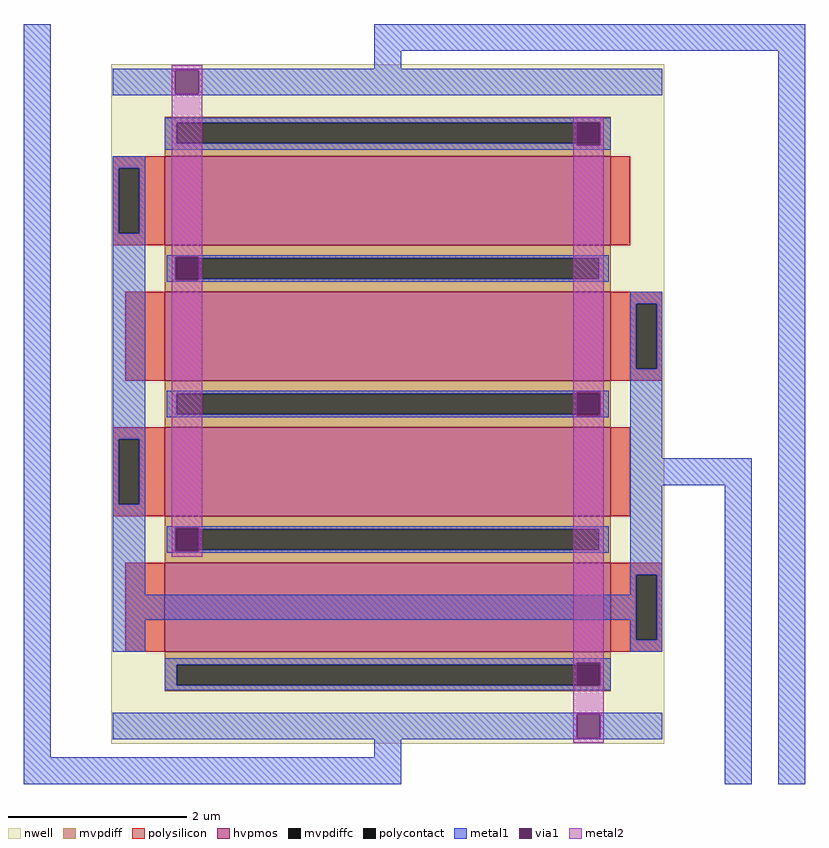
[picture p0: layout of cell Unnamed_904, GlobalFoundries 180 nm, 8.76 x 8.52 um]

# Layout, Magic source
magic
tech gf180mcuD
magscale 1 10
<< nwell >>
rect -1120 -192 120 1332
<< hvpmos >>
rect -1000 926 0 1126
rect -1000 622 0 822
rect -1000 318 0 518
rect -1000 14 0 214
<< mvpdiff >>
rect -1000 1201 0 1214
rect -1000 1155 -973 1201
rect -27 1155 0 1201
rect -1000 1126 0 1155
rect -1000 897 0 926
rect -1000 851 -973 897
rect -27 851 0 897
rect -1000 822 0 851
rect -1000 593 0 622
rect -1000 547 -973 593
rect -27 547 0 593
rect -1000 518 0 547
rect -1000 289 0 318
rect -1000 243 -973 289
rect -27 243 0 289
rect -1000 214 0 243
rect -1000 -15 0 14
rect -1000 -61 -973 -15
rect -27 -61 0 -15
rect -1000 -74 0 -61
<< mvpdiffc >>
rect -973 1155 -27 1201
rect -973 851 -27 897
rect -973 547 -27 593
rect -973 243 -27 289
rect -973 -61 -27 -15
<< polysilicon >>
rect -1116 1099 -1000 1126
rect -1116 953 -1103 1099
rect -1057 953 -1000 1099
rect -1116 926 -1000 953
rect 0 926 44 1126
rect -1088 622 -1000 822
rect 0 795 116 822
rect 0 649 57 795
rect 103 649 116 795
rect 0 622 116 649
rect -1116 491 -1000 518
rect -1116 345 -1103 491
rect -1057 345 -1000 491
rect -1116 318 -1000 345
rect 0 318 44 518
rect -1088 14 -1000 214
rect 0 187 116 214
rect 0 41 57 187
rect 103 41 116 187
rect 0 14 116 41
<< polycontact >>
rect -1103 953 -1057 1099
rect 57 649 103 795
rect -1103 345 -1057 491
rect 57 41 103 187
<< metal1 >>
rect -1316 -222 -1256 1422
rect -530 1362 436 1422
rect -530 1322 -470 1362
rect -1116 1318 116 1322
rect -1116 1266 -976 1318
rect -924 1266 116 1318
rect -1116 1262 116 1266
rect -1000 1202 0 1212
rect -1000 1201 -76 1202
rect -1000 1155 -973 1201
rect -1000 1150 -76 1155
rect -24 1150 0 1202
rect -1000 1140 0 1150
rect -1116 1099 -1044 1126
rect -1116 953 -1103 1099
rect -1057 953 -1044 1099
rect -1116 491 -1044 953
rect -996 900 -4 904
rect -996 848 -976 900
rect -924 897 -4 900
rect -27 851 -4 897
rect -924 848 -4 851
rect -996 844 -4 848
rect 44 795 116 822
rect 44 649 57 795
rect 103 649 116 795
rect -996 596 -4 600
rect -996 593 -76 596
rect -996 547 -973 593
rect -996 544 -76 547
rect -24 544 -4 596
rect -996 540 -4 544
rect -1116 345 -1103 491
rect -1057 345 -1044 491
rect -1116 142 -1044 345
rect 44 448 116 649
rect 44 388 316 448
rect -996 292 -4 296
rect -996 240 -976 292
rect -924 289 -4 292
rect -27 243 -4 289
rect -924 240 -4 243
rect -996 236 -4 240
rect 44 187 116 388
rect 44 142 57 187
rect -1116 86 57 142
rect -1116 14 -1044 86
rect 44 41 57 86
rect 103 41 116 187
rect 44 14 116 41
rect -1000 -10 0 0
rect -1000 -15 -76 -10
rect -1000 -61 -973 -15
rect -1000 -62 -76 -61
rect -24 -62 0 -10
rect -1000 -72 0 -62
rect -1116 -126 116 -122
rect -1116 -178 -76 -126
rect -24 -178 116 -126
rect -1116 -182 116 -178
rect -530 -222 -470 -182
rect -1316 -282 -470 -222
rect 256 -282 316 388
rect 376 -282 436 1362
<< via1 >>
rect -976 1266 -924 1318
rect -76 1201 -24 1202
rect -76 1155 -27 1201
rect -27 1155 -24 1201
rect -76 1150 -24 1155
rect -976 897 -924 900
rect -976 851 -973 897
rect -973 851 -924 897
rect -976 848 -924 851
rect -76 593 -24 596
rect -76 547 -27 593
rect -27 547 -24 593
rect -76 544 -24 547
rect -976 289 -924 292
rect -976 243 -973 289
rect -973 243 -924 289
rect -976 240 -924 243
rect -76 -15 -24 -10
rect -76 -61 -27 -15
rect -27 -61 -24 -15
rect -76 -62 -24 -61
rect -76 -178 -24 -126
<< metal2 >>
rect -984 1318 -916 1330
rect -984 1266 -976 1318
rect -924 1266 -916 1318
rect -984 900 -916 1266
rect -984 848 -976 900
rect -924 848 -916 900
rect -984 292 -916 848
rect -984 240 -976 292
rect -924 240 -916 292
rect -984 228 -916 240
rect -84 1202 -16 1214
rect -84 1150 -76 1202
rect -24 1150 -16 1202
rect -84 596 -16 1150
rect -84 544 -76 596
rect -24 544 -16 596
rect -84 -10 -16 544
rect -84 -62 -76 -10
rect -24 -62 -16 -10
rect -84 -126 -16 -62
rect -84 -178 -76 -126
rect -24 -178 -16 -126
rect -84 -190 -16 -178
<< end >>
